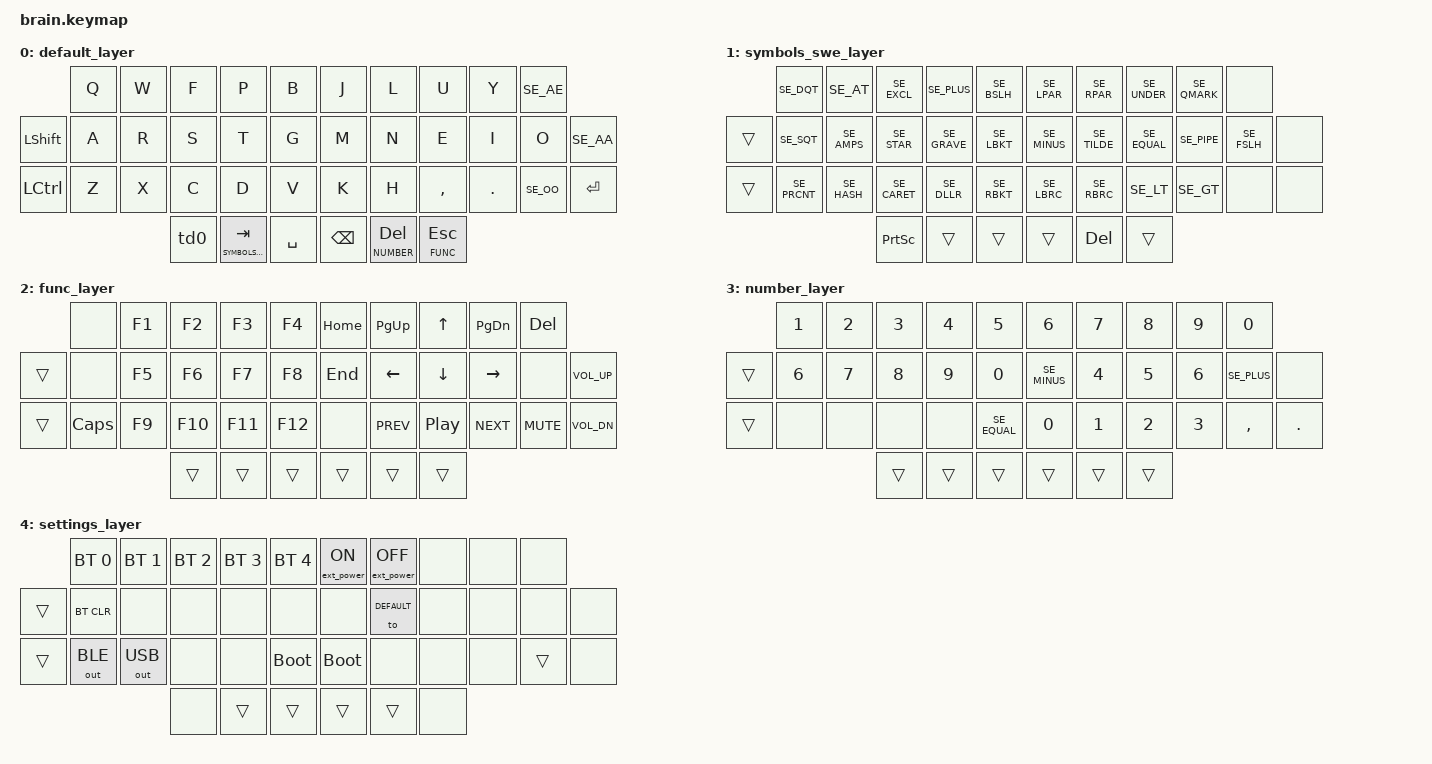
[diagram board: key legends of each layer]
/*
 * Copyright (c) 2020 The ZMK Contributors
 *
 * SPDX-License-Identifier: MIT
 */

#include <behaviors.dtsi>
#include <dt-bindings/zmk/keys.h>
#include <dt-bindings/zmk/bt.h>
#include <dt-bindings/zmk/outputs.h>
#include <dt-bindings/zmk/ext_power.h>
#ifndef KEYMAP_DRAWER
#include "swe_keys.h"
#endif

#define DEFAULT     0
#define SYMBOLS_SWE 1
#define FUNC        2
#define NUMBER      3
#define SETTINGS    4

/ {
    behaviors {
        hm: homerow_mods {
            compatible = "zmk,behavior-hold-tap";
            label = "HOMEROW_MODS";
            #binding-cells = <2>;
            tapping-term-ms = <200>;
            quick-tap-ms = <0>;
            flavor = "tap-preferred";
            bindings = <&kp>, <&kp>;
        };
        hs: homerow_mods_slow {
            compatible = "zmk,behavior-hold-tap";
            label = "HOMEROW_MODS_SLOW";
            #binding-cells = <2>;
            tapping-term-ms = <300>;
            quick-tap-ms = <0>;
            flavor = "tap-preferred";
            bindings = <&kp>, <&kp>;
        };
        td0: tap_dance_0 {
            compatible = "zmk,behavior-tap-dance";
            label = "TAP_DANCE_0";
            #binding-cells = <0>;
            tapping-term-ms = <300>;
            bindings = <&kp LEFT_ALT>, <&kp LGUI>;
        };
    };
    cond_layers {
        compatible = "zmk,conditional-layers";
        // Define SETTINGS layer as tri-state
        func_tristate {
            if-layers = <NUMBER FUNC>;
            then-layer = <SETTINGS>;
        };
    };

/*           40 Keys
╭─────────────────╮ ╭─────────────────╮
│    0  1  2  3  4│ │ 5  6  7  8  9   │
│10 11 12 13 14 15│ │16 17 18 19 20 21│
│22 23 24 25 26 27│ │28 29 30 31 32 33│
╰────────╮34 35 36│ │37 38 39╭────────╯
         ╰────────╯ ╰────────╯       */
/*    combos {
        compatible = "zmk,combos";

        combo_esc {
            timeout-ms = <50>;
            key-positions = <0 1>;
            bindings = <&kp ESC>;
        };
        combo_tab {
            timeout-ms = <50>;
            key-positions = <10 11>;
            bindings = <&kp TAB>;
        };
        combo_ralt {
            timeout-ms = <50>;
            key-positions = <17 16>;
            bindings = <&kp RALT>;
        };
        combo_lalt {
            timeout-ms = <50>;
            key-positions = <11 12>;
            bindings = <&kp LALT>;
        };
        combo_lgui {
            timeout-ms = <50>;
            key-positions = <12 13>;
            bindings = <&kp LGUI>;
        };
        combo_rgui {
            timeout-ms = <50>;
            key-positions = <17 18>;
            bindings = <&kp RGUI>;
        };
    }; */

    keymap {
        compatible = "zmk,keymap";

        default_layer {
            bindings = <
                &kp Q       &kp W       &kp F       &kp P           &kp B       &kp J     &kp L         &kp U       &kp Y       &kp SE_AE
     &kp LSHIFT &kp A       &kp R       &kp S       &kp T           &kp G       &kp M     &kp N         &kp E       &kp I       &kp O       &kp SE_AA
     &kp LCTRL  &kp Z       &kp X       &kp C       &kp D           &kp V       &kp K     &kp H         &kp COMMA   &kp DOT     &kp SE_OO   &kp ENTER
                                        &td0  &lt SYMBOLS_SWE TAB  &kp SPACE    &kp BSPC  &lt NUMBER DEL &lt FUNC ESC
            >;
        };

        symbols_swe_layer {
            bindings = <
                &kp SE_DQT      &kp SE_AT       &kp SE_EXCL     &kp SE_PLUS   &kp SE_BSLH   &kp SE_LPAR   &kp SE_RPAR   &kp SE_UNDER    &kp SE_QMARK    &none
     &trans     &kp SE_SQT      &kp SE_AMPS     &kp SE_STAR     &kp SE_GRAVE  &kp SE_LBKT   &kp SE_MINUS  &kp SE_TILDE  &kp SE_EQUAL    &kp SE_PIPE     &kp SE_FSLH &none
     &trans     &kp SE_PRCNT    &kp SE_HASH     &kp SE_CARET    &kp SE_DLLR   &kp SE_RBKT   &kp SE_LBRC   &kp SE_RBRC   &kp SE_LT       &kp SE_GT       &none       &none
                                                                &kp PSCRN  &trans  &trans   &trans        &kp DEL       &trans
            >;
        };

        func_layer {
            bindings = <
            &none     &kp F1  &kp F2   &kp F3   &kp F4     &kp HOME   &kp PG_UP      &kp UP       &kp PG_DN   &kp DEL
     &trans &none     &kp F5  &kp F6   &kp F7   &kp F8     &kp END    &kp LEFT       &kp DOWN     &kp RIGHT   &none         &kp C_VOL_UP
     &trans &kp CAPS  &kp F9  &kp F10  &kp F11  &kp F12    &none      &kp C_PREV     &kp C_PP     &kp C_NEXT  &kp K_MUTE    &kp C_VOL_DN
                                &trans  &trans   &trans    &trans     &trans         &trans
            >;
        };

        number_layer {
            bindings = <
                &kp N1      &kp N2      &kp N3      &kp N4      &kp N5              &kp N6          &kp N7      &kp N8      &kp N9      &kp N0
     &trans     &kp N6      &kp N7      &kp N8      &kp N9      &kp N0              &kp SE_MINUS    &kp N4      &kp N5      &kp N6      &kp SE_PLUS     &none
     &trans     &none       &none       &none       &none       &kp SE_EQUAL        &kp N0          &kp N1      &kp N2      &kp N3      &kp COMMA       &kp DOT
                                             &trans  &trans      &trans             &trans          &trans      &trans
            >;
        };

        settings_layer {
            bindings = <
                &bt BT_SEL 0  &bt BT_SEL 1  &bt BT_SEL 2    &bt BT_SEL 3  &bt BT_SEL 4   &ext_power EP_ON  &ext_power EP_OFF    &none  &none       &none
     &trans     &bt BT_CLR    &none         &none           &none         &none          &none             &to DEFAULT          &none  &none       &none    &none
     &trans     &out OUT_BLE  &out OUT_USB  &none           &none         &bootloader    &bootloader       &none                &none  &none       &trans   &none
                                            &none           &trans        &trans         &trans            &trans               &none
            >;
        };
    };
};

